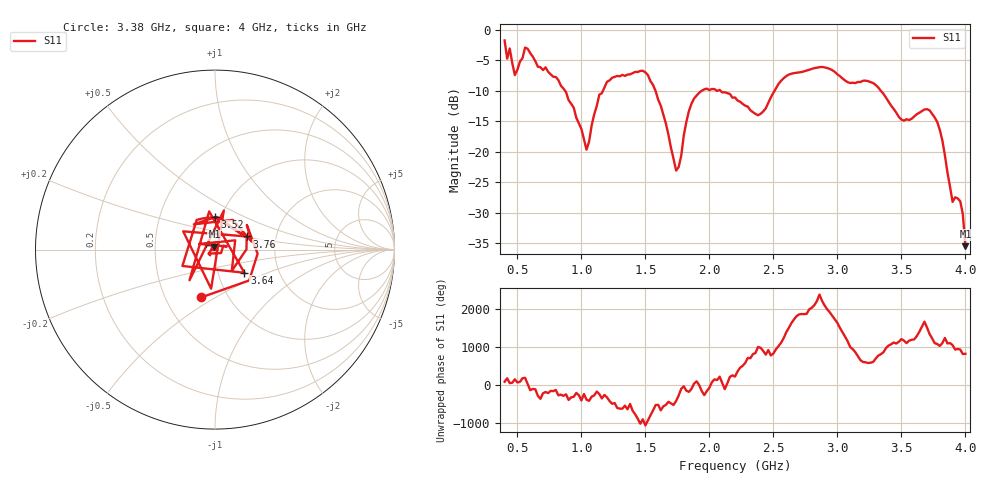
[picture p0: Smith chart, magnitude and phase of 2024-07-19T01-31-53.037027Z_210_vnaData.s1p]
!Created with skrf (http://scikit-rf.org).
# Hz S RI R 50.0
!freq ReS11 ImS11
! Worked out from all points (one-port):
!   181 points, 400 MHz to 4 GHz, reference 50 ohm
!   lowest |S11| = -35.5 dB at 4 GHz (marker M1), VSWR 1.03, Z = 49.6 + j1.64 ohm
!   |S11| at or under -10 dB: 1.579 GHz to 1.94 GHz (361.4 MHz wide, 20.5 % of centre); 2.086 GHz to 2.51 GHz (423 MHz wide, 18.4 % of centre); 3.339 GHz to end of sweep (the widest 3 of 5)
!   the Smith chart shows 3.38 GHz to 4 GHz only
!   S11 on the Smith chart (normalised r, x): 3.38 GHz: 0.75, -0.43; 3.52 GHz: 0.94, +0.35; 3.64 GHz: 1.34, -0.36; 3.76 GHz: 1.41, +0.21; 4 GHz: 0.99, +0.03
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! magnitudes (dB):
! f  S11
! 400 MHz  -1.8
! 480 MHz  -7.4
! 560 MHz  -2.9
! 860 MHz  -9.7
! 1.04 GHz  -19.7
! 1.14 GHz  -10.6
! 1.3 GHz  -7.6
! 1.52 GHz  -7.5
! 1.62 GHz  -12.4
! 1.74 GHz  -23.1
! 1.76 GHz  -22.5
! 1.82 GHz  -15.1
! 1.88 GHz  -11.3
! 2.2 GHz  -11.1
! 2.38 GHz  -14.0
! 2.66 GHz  -7.1
! 2.9 GHz  -6.2
! 3.1 GHz  -8.7
! 3.38 GHz  -11.1
! 3.52 GHz  -14.9
! 3.56 GHz  -14.8
! 3.64 GHz  -13.6
! 3.76 GHz  -14.4
! 3.82 GHz  -18.1
! 3.9 GHz  -28.2
! 3.96 GHz  -28.1
! 3.98 GHz  -30.2
! 4 GHz  -35.5
